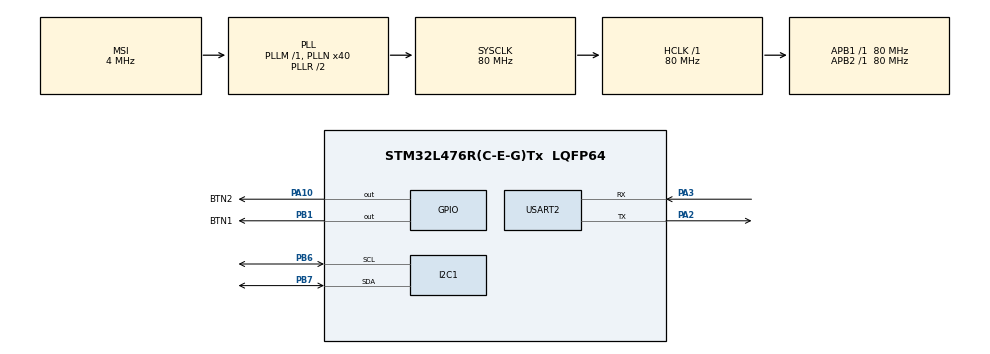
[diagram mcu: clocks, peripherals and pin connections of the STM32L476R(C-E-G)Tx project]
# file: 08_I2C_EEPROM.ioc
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I2C1.Timing=0x10D19CE4
Mcu.Family=STM32L4
Mcu.Name=STM32L476R(C-E-G)Tx
Mcu.Package=LQFP64
NVIC.PriorityGroup=NVIC_PRIORITYGROUP_4
PA10.GPIO_Label=BTN2
PA10.Signal=GPIO_Output
PA13\ (JTMS-SWDIO).Mode=Serial_Wire
PA13\ (JTMS-SWDIO).Signal=SYS_JTMS-SWDIO
PA14\ (JTCK-SWCLK).Mode=Serial_Wire
PA14\ (JTCK-SWCLK).Signal=SYS_JTCK-SWCLK
PA2.Mode=Asynchronous
PA2.Signal=USART2_TX
PA3.Mode=Asynchronous
PA3.Signal=USART2_RX
PB1.GPIO_Label=BTN1
PB1.Signal=GPIO_Output
PB6.Mode=I2C
PB6.Signal=I2C1_SCL
PB7.Mode=I2C
PB7.Signal=I2C1_SDA
ProjectManager.HeapSize=0x200
ProjectManager.StackSize=0x400
ProjectManager.TargetToolchain=STM32CubeIDE
RCC.AHBFreq_Value=80000000
RCC.APB1Freq_Value=80000000
RCC.APB1TimFreq_Value=80000000
RCC.APB2Freq_Value=80000000
RCC.APB2TimFreq_Value=80000000
RCC.CortexFreq_Value=80000000
RCC.HCLKFreq_Value=80000000
RCC.HSE_VALUE=8000000
RCC.HSI_VALUE=16000000
RCC.LSE_VALUE=32768
RCC.MSI_VALUE=4000000
RCC.PLLN=40
RCC.SYSCLKFreq_VALUE=80000000
RCC.SYSCLKSource=RCC_SYSCLKSOURCE_PLLCLK
RCC.VCOOutputFreq_Value=160000000
USART2.VirtualMode-Asynchronous=VM_ASYNC
board=custom

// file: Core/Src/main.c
/* USER CODE BEGIN Header */
/**
  ******************************************************************************
  * @file           : main.c
  * @brief          : Main program body
  ******************************************************************************
  * @attention
  *
  * Copyright (c) 2026 STMicroelectronics.
  * All rights reserved.
  *
  * This software is licensed under terms that can be found in the LICENSE file
  * in the root directory of this software component.
  * If no LICENSE file comes with this software, it is provided AS-IS.
  *
  ******************************************************************************
  */
/* USER CODE END Header */
#include "main.h"
#include "i2c.h"
#include "usart.h"
#include "gpio.h"
#include "eeprom.h"

void SystemClock_Config(void);

/* USER CODE BEGIN 0 */
int __io_putchar(int ch)
{
  if (ch == '\n') {
    __io_putchar('\r');
  }

  HAL_UART_Transmit(&huart2, (uint8_t*)&ch, 1, HAL_MAX_DELAY);

  return 1;
}

/* USER CODE END 0 */

int main(void)
{

  /* MCU Configuration--------------------------------------------------------*/

  /* Reset of all peripherals, Initializes the Flash interface and the Systick. */
  HAL_Init();

  /* Configure the system clock */
  SystemClock_Config();

  /* Initialize all configured peripherals */
  MX_GPIO_Init();
  MX_I2C1_Init();
  MX_USART2_UART_Init();
  /* USER CODE BEGIN 2 */

  setvbuf(stdout, NULL, _IONBF, 0);

  uint32_t boot_counter = 0;
  uint32_t press_counter = 0;
  HAL_StatusTypeDef eeprom_status1, eeprom_status2;

  if (HAL_GPIO_ReadPin(BTN1_GPIO_Port, BTN1_Pin) == GPIO_PIN_RESET) {
  	printf("Button 1 held during boot. Clearing memory...\n");

  	boot_counter = 0;
  	press_counter = 0;

  	eeprom_write(0x10, &boot_counter, sizeof(boot_counter));
  	eeprom_write(0x14, &press_counter, sizeof(press_counter));
  } else {
  	eeprom_status1 = eeprom_read(0x10, &boot_counter, sizeof(boot_counter));
  	eeprom_status2 = eeprom_read(0x14, &press_counter, sizeof(press_counter));

  	if (eeprom_status1 != HAL_OK || eeprom_status2 != HAL_OK) {
  		printf("EEPROM Communication Failed!\n");
  		boot_counter = 0;
  		press_counter = 0;
  	}

  	if (boot_counter == 0xFFFFFFFF) boot_counter = 0;
  	if (press_counter == 0xFFFFFFFF) press_counter = 0;
  }

  boot_counter++;
  printf("Boot number: %lu\r\n", boot_counter);
  printf("Button 2 total presses saved: %lu\n", press_counter);

  if (eeprom_write(0x10, &boot_counter, sizeof(boot_counter)) != HAL_OK) {
  	printf("Could not save updated boot counter!\r\n");
  }

  uint8_t button2_last_state = GPIO_PIN_SET;
  /* USER CODE END 2 */

  /* Infinite loop */
  /* USER CODE BEGIN WHILE */
  while (1)
  {
  	uint8_t button2_current_state = HAL_GPIO_ReadPin(BTN2_GPIO_Port, BTN2_Pin);

  	if (button2_last_state == GPIO_PIN_SET && button2_current_state == GPIO_PIN_RESET) {

  		HAL_Delay(20);

  		if (HAL_GPIO_ReadPin(BTN2_GPIO_Port, BTN2_Pin) == GPIO_PIN_RESET) {
  			press_counter++;
  			printf("Button 2 Pressed! Current count: %lu\r\n", press_counter);

  			if (eeprom_write(0x14, &press_counter, sizeof(press_counter)) != HAL_OK) {
  				printf("Failed to save press counter to EEPROM!\r\n");
  			}
  		}
  	}
  	button2_last_state = button2_current_state;

  	HAL_Delay(10);
      /* USER CODE END WHILE */

    }
}

void SystemClock_Config(void)
{
  RCC_OscInitTypeDef RCC_OscInitStruct = {0};
  RCC_ClkInitTypeDef RCC_ClkInitStruct = {0};

  /** Configure the main internal regulator output voltage
  */
  if (HAL_PWREx_ControlVoltageScaling(PWR_REGULATOR_VOLTAGE_SCALE1) != HAL_OK)
  {
    Error_Handler();
  }

  /** Initializes the RCC Oscillators according to the specified parameters
  * in the RCC_OscInitTypeDef structure.
  */
  RCC_OscInitStruct.OscillatorType = RCC_OSCILLATORTYPE_MSI;
  RCC_OscInitStruct.MSIState = RCC_MSI_ON;
  RCC_OscInitStruct.MSICalibrationValue = 0;
  RCC_OscInitStruct.MSIClockRange = RCC_MSIRANGE_6;
  RCC_OscInitStruct.PLL.PLLState = RCC_PLL_ON;
  RCC_OscInitStruct.PLL.PLLSource = RCC_PLLSOURCE_MSI;
  RCC_OscInitStruct.PLL.PLLM = 1;
  RCC_OscInitStruct.PLL.PLLN = 40;
  RCC_OscInitStruct.PLL.PLLP = RCC_PLLP_DIV7;
  RCC_OscInitStruct.PLL.PLLQ = RCC_PLLQ_DIV2;
  RCC_OscInitStruct.PLL.PLLR = RCC_PLLR_DIV2;
  if (HAL_RCC_OscConfig(&RCC_OscInitStruct) != HAL_OK)
  {
    Error_Handler();
  }

  /** Initializes the CPU, AHB and APB buses clocks
  */
  RCC_ClkInitStruct.ClockType = RCC_CLOCKTYPE_HCLK|RCC_CLOCKTYPE_SYSCLK
                              |RCC_CLOCKTYPE_PCLK1|RCC_CLOCKTYPE_PCLK2;
  RCC_ClkInitStruct.SYSCLKSource = RCC_SYSCLKSOURCE_PLLCLK;
  RCC_ClkInitStruct.AHBCLKDivider = RCC_SYSCLK_DIV1;
  RCC_ClkInitStruct.APB1CLKDivider = RCC_HCLK_DIV1;
  RCC_ClkInitStruct.APB2CLKDivider = RCC_HCLK_DIV1;

  if (HAL_RCC_ClockConfig(&RCC_ClkInitStruct, FLASH_LATENCY_4) != HAL_OK)
  {
    Error_Handler();
  }
}

void Error_Handler(void)
{
  __disable_irq();
  while (1)
  {
  }
}
